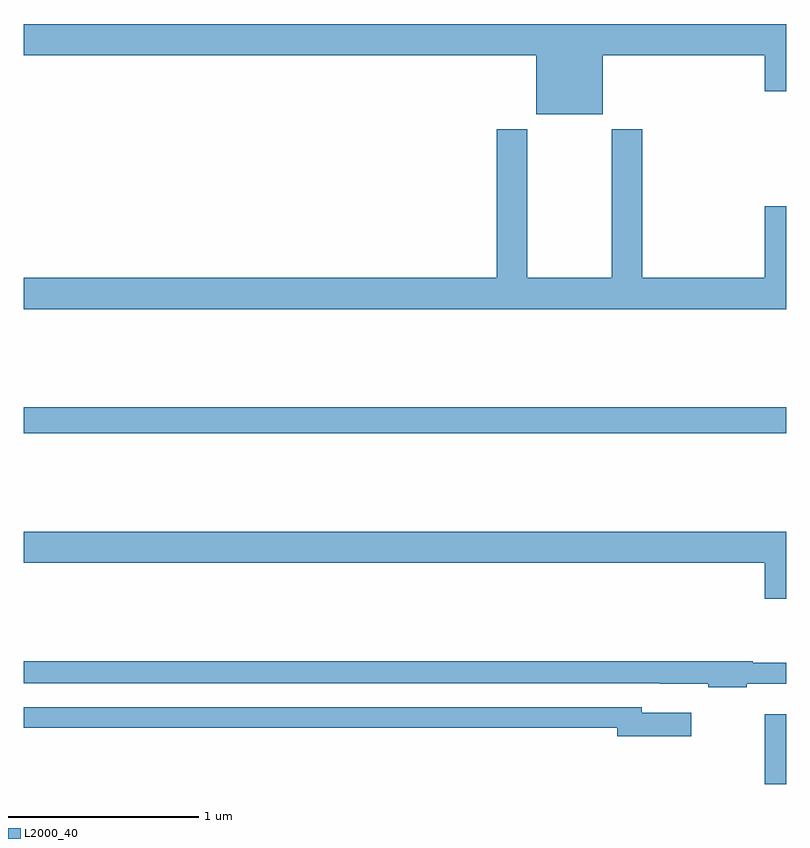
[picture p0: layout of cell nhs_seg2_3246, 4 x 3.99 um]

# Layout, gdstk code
import gdstk
lib = gdstk.Library(unit=1e-6, precision=1e-09)
def R(c, l, rs):  # rectangles x0, y0, x1, y1
    for r in rs: c.add(gdstk.rectangle(r[:2], r[2:], *l))
def P(c, l, *ps):  # polygons
    for p in ps: c.add(gdstk.Polygon(p, *l))
L2000_40 = (2000, 40)

nhs_seg2_3246 = lib.new_cell('nhs_seg2_3246')
R(nhs_seg2_3246, L2000_40, [(284.888,655.8,285,656.167), (281,657.64,285,657.776)])
P(nhs_seg2_3246, L2000_40, [(284.038,659.624),(284.888,659.624),(284.888,659.436),(285,659.436),(285,659.788),(281,659.788),(281,659.624),(283.688,659.624),(283.688,659.315),(284.038,659.315)],
  [(285,658.831),(284.888,658.831),(284.888,658.456),(284.246,658.456),(284.246,659.236),(284.086,659.236),(284.086,658.456),(283.641,658.456),(283.641,659.236),(283.481,659.236),(283.481,658.456),(281,658.456),(281,658.292),(285,658.292)],
  [(285,657.124),(281,657.124),(281,656.96),(284.888,656.96),(284.888,656.772),(285,656.772)],
  [(284.792,656.327),(285,656.327),(285,656.437),(284.824,656.437),(284.824,656.444),(281,656.444),(281,656.328),(284.338,656.328),(284.338,656.327),(284.59,656.327),(284.59,656.308),(284.792,656.308)],
  [(284.503,656.173),(284.242,656.173),(284.242,656.202),(281,656.202),(281,656.094),(284.114,656.094),(284.114,656.051),(284.503,656.051)])

lib.write_gds('nhs_seg2_3246.gds')
